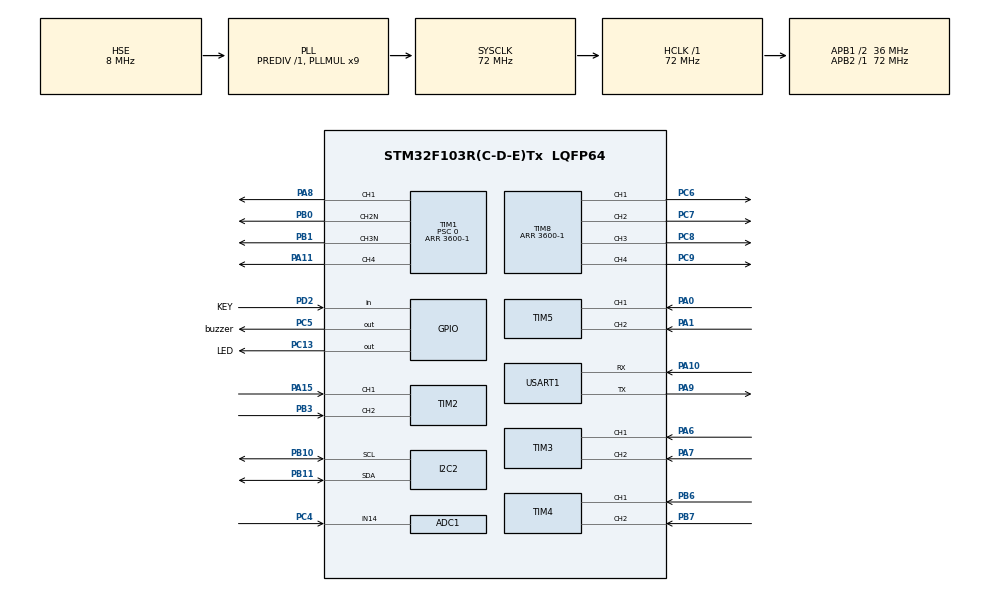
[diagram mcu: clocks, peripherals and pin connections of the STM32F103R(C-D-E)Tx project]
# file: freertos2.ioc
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ADC1.Channel-0\#ChannelRegularConversion=ADC_CHANNEL_14
ADC1.ContinuousConvMode=ENABLE
ADC1.NbrOfConversion=1
ADC1.NbrOfConversionFlag=1
ADC1.Rank-0\#ChannelRegularConversion=1
ADC1.SamplingTime-0\#ChannelRegularConversion=ADC_SAMPLETIME_239CYCLES_5
ADC1.master=1
FREERTOS.Tasks01=defaultTask,24,128,StartDefaultTask,Default,NULL,Dynamic,NULL,NULL
FREERTOS.configUSE_NEWLIB_REENTRANT=1
Mcu.Family=STM32F1
Mcu.Name=STM32F103R(C-D-E)Tx
Mcu.Package=LQFP64
NVIC.PriorityGroup=NVIC_PRIORITYGROUP_4
NVIC.TIM6_IRQn=true\:15\:0\:false\:false\:true\:false\:false\:true\:true
NVIC.TIM7_IRQn=true\:5\:0\:false\:false\:true\:true\:true\:true\:true
NVIC.TimeBase=TIM6_IRQn
NVIC.TimeBaseIP=TIM6
PA0-WKUP.Signal=S_TIM5_CH1
PA1.Signal=S_TIM5_CH2
PA10.Mode=Asynchronous
PA10.Signal=USART1_RX
PA11.Signal=S_TIM1_CH4
PA13.Mode=Serial_Wire
PA13.Signal=SYS_JTMS-SWDIO
PA14.Mode=Serial_Wire
PA14.Signal=SYS_JTCK-SWCLK
PA15.Signal=S_TIM2_CH1_ETR
PA6.Signal=S_TIM3_CH1
PA7.Signal=S_TIM3_CH2
PA8.Signal=S_TIM1_CH1
PA9.Mode=Asynchronous
PA9.Signal=USART1_TX
PB0.Mode=PWM Generation2 CH2N
PB0.Signal=TIM1_CH2N
PB1.Mode=PWM Generation3 CH3N
PB1.Signal=TIM1_CH3N
PB10.Mode=I2C
PB10.Signal=I2C2_SCL
PB11.Mode=I2C
PB11.Signal=I2C2_SDA
PB3.Signal=S_TIM2_CH2
PB6.Signal=S_TIM4_CH1
PB7.Signal=S_TIM4_CH2
PC13-TAMPER-RTC.GPIO_Label=LED
PC13-TAMPER-RTC.Signal=GPIO_Output
PC4.Signal=ADCx_IN14
PC5.GPIO_Label=buzzer
PC5.GPIO_Speed=GPIO_SPEED_FREQ_LOW
PC5.Signal=GPIO_Output
PC6.Signal=S_TIM8_CH1
PC7.Signal=S_TIM8_CH2
PC8.Signal=S_TIM8_CH3
PC9.Signal=S_TIM8_CH4
PD0-OSC_IN.Mode=HSE-External-Oscillator
PD0-OSC_IN.Signal=RCC_OSC_IN
PD1-OSC_OUT.Mode=HSE-External-Oscillator
PD1-OSC_OUT.Signal=RCC_OSC_OUT
PD2.GPIO_Label=KEY
PD2.GPIO_PuPd=GPIO_PULLUP
PD2.Signal=GPIO_Input
ProjectManager.HeapSize=0x200
ProjectManager.StackSize=0x400
ProjectManager.TargetToolchain=STM32CubeIDE
RCC.ADCPresc=RCC_ADCPCLK2_DIV6
RCC.AHBFreq_Value=72000000
RCC.APB1CLKDivider=RCC_HCLK_DIV2
RCC.APB1Freq_Value=36000000
RCC.APB1TimFreq_Value=72000000
RCC.APB2Freq_Value=72000000
RCC.APB2TimFreq_Value=72000000
RCC.HCLKFreq_Value=72000000
RCC.PLLMUL=RCC_PLL_MUL9
RCC.PLLSourceVirtual=RCC_PLLSOURCE_HSE
RCC.SYSCLKFreq_VALUE=72000000
RCC.SYSCLKSource=RCC_SYSCLKSOURCE_PLLCLK
RCC.USBFreq_Value=72000000
SH.ADCx_IN14.0=ADC1_IN14,IN14
SH.S_TIM1_CH1.0=TIM1_CH1,PWM Generation1 CH1
SH.S_TIM1_CH4.0=TIM1_CH4,PWM Generation4 CH4
SH.S_TIM2_CH1_ETR.0=TIM2_CH1,Encoder_Interface
SH.S_TIM2_CH2.0=TIM2_CH2,Encoder_Interface
SH.S_TIM3_CH1.0=TIM3_CH1,Encoder_Interface
SH.S_TIM3_CH2.0=TIM3_CH2,Encoder_Interface
SH.S_TIM4_CH1.0=TIM4_CH1,Encoder_Interface
SH.S_TIM4_CH2.0=TIM4_CH2,Encoder_Interface
SH.S_TIM5_CH1.0=TIM5_CH1,Encoder_Interface
SH.S_TIM5_CH2.0=TIM5_CH2,Encoder_Interface
SH.S_TIM8_CH1.0=TIM8_CH1,Output Compare1 CH1
SH.S_TIM8_CH2.0=TIM8_CH2,PWM Generation2 CH2
SH.S_TIM8_CH3.0=TIM8_CH3,PWM Generation3 CH3
SH.S_TIM8_CH4.0=TIM8_CH4,PWM Generation4 CH4
TIM1.AutoReloadPreload=TIM_AUTORELOAD_PRELOAD_ENABLE
TIM1.Channel-PWM\ Generation1\ CH1=TIM_CHANNEL_1
TIM1.Channel-PWM\ Generation2\ CH2N=TIM_CHANNEL_2
TIM1.Channel-PWM\ Generation3\ CH3N=TIM_CHANNEL_3
TIM1.Channel-PWM\ Generation4\ CH4=TIM_CHANNEL_4
TIM1.Period=3600-1
TIM1.Prescaler=0
TIM3.AutoReloadPreload=TIM_AUTORELOAD_PRELOAD_ENABLE
TIM3.EncoderMode=TIM_ENCODERMODE_TI12
TIM3.IC1Filter=0xf
TIM3.IC2Filter=0xf
TIM7.AutoReloadPreload=TIM_AUTORELOAD_PRELOAD_ENABLE
TIM7.Period=100-1
TIM7.Prescaler=7200-1
TIM8.Channel-Output\ Compare1\ CH1=TIM_CHANNEL_1
TIM8.Channel-PWM\ Generation2\ CH2=TIM_CHANNEL_2
TIM8.Channel-PWM\ Generation3\ CH3=TIM_CHANNEL_3
TIM8.Channel-PWM\ Generation4\ CH4=TIM_CHANNEL_4
TIM8.Period=3600-1
USART1.VirtualMode=VM_ASYNC
VP_FREERTOS_VS_CMSIS_V2.Mode=CMSIS_V2
VP_SYS_VS_tim6.Mode=TIM6
VP_TIM1_VS_ClockSourceINT.Mode=Internal
VP_TIM7_VS_ClockSourceINT.Mode=Enable_Timer
VP_TIM8_VS_ClockSourceINT.Mode=Internal
board=custom

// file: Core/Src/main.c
/* USER CODE BEGIN Header */
/**
  ******************************************************************************
  * @file           : main.c
  * @brief          : Main program body
  ******************************************************************************
  * @attention
  *
  * Copyright (c) 2025 STMicroelectronics.
  * All rights reserved.
  *
  * This software is licensed under terms that can be found in the LICENSE file
  * in the root directory of this software component.
  * If no LICENSE file comes with this software, it is provided AS-IS.
  *
  ******************************************************************************
  */
/* USER CODE END Header */
#include "main.h"
#include "cmsis_os.h"
#include "adc.h"
#include "i2c.h"
#include "tim.h"
#include "usart.h"
#include "gpio.h"

/* USER CODE BEGIN Includes */
#include "freertos_ITF.h"
/* USER CODE END Includes */

void SystemClock_Config(void);

void MX_FREERTOS_Init(void);

int main(void) {

    /* MCU Configuration--------------------------------------------------------*/

    /* Reset of all peripherals, Initializes the Flash interface and the Systick. */
    HAL_Init();

    /* Configure the system clock */
    SystemClock_Config();

    /* Initialize all configured peripherals */
    MX_GPIO_Init();
    MX_I2C2_Init();
    MX_TIM1_Init();
    MX_TIM8_Init();
    MX_TIM3_Init();
    MX_USART1_UART_Init();
    MX_TIM2_Init();
    MX_TIM4_Init();
    MX_TIM5_Init();
    MX_ADC1_Init();
    MX_TIM7_Init();
    /* USER CODE BEGIN 2 */
    Motor_Init();
    OLED_Init();
    OLED_Clear();
    /* USER CODE END 2 */

    /* Init scheduler */
    osKernelInitialize();

    /* Call init function for freertos objects (in cmsis_os2.c) */
    MX_FREERTOS_Init();

    /* Start scheduler */
    osKernelStart();

    /* We should never get here as control is now taken by the scheduler */

    /* Infinite loop */
    while (1) {

    }
}

void SystemClock_Config(void) {
    RCC_OscInitTypeDef RCC_OscInitStruct = {0};
    RCC_ClkInitTypeDef RCC_ClkInitStruct = {0};
    RCC_PeriphCLKInitTypeDef PeriphClkInit = {0};

    /** Initializes the RCC Oscillators according to the specified parameters
    * in the RCC_OscInitTypeDef structure.
    */
    RCC_OscInitStruct.OscillatorType = RCC_OSCILLATORTYPE_HSE;
    RCC_OscInitStruct.HSEState = RCC_HSE_ON;
    RCC_OscInitStruct.HSEPredivValue = RCC_HSE_PREDIV_DIV1;
    RCC_OscInitStruct.HSIState = RCC_HSI_ON;
    RCC_OscInitStruct.PLL.PLLState = RCC_PLL_ON;
    RCC_OscInitStruct.PLL.PLLSource = RCC_PLLSOURCE_HSE;
    RCC_OscInitStruct.PLL.PLLMUL = RCC_PLL_MUL9;
    if (HAL_RCC_OscConfig(&RCC_OscInitStruct) != HAL_OK) {
        Error_Handler();
    }

    /** Initializes the CPU, AHB and APB buses clocks
    */
    RCC_ClkInitStruct.ClockType = RCC_CLOCKTYPE_HCLK | RCC_CLOCKTYPE_SYSCLK
                                  | RCC_CLOCKTYPE_PCLK1 | RCC_CLOCKTYPE_PCLK2;
    RCC_ClkInitStruct.SYSCLKSource = RCC_SYSCLKSOURCE_PLLCLK;
    RCC_ClkInitStruct.AHBCLKDivider = RCC_SYSCLK_DIV1;
    RCC_ClkInitStruct.APB1CLKDivider = RCC_HCLK_DIV2;
    RCC_ClkInitStruct.APB2CLKDivider = RCC_HCLK_DIV1;

    if (HAL_RCC_ClockConfig(&RCC_ClkInitStruct, FLASH_LATENCY_2) != HAL_OK) {
        Error_Handler();
    }
    PeriphClkInit.PeriphClockSelection = RCC_PERIPHCLK_ADC;
    PeriphClkInit.AdcClockSelection = RCC_ADCPCLK2_DIV6;
    if (HAL_RCCEx_PeriphCLKConfig(&PeriphClkInit) != HAL_OK) {
        Error_Handler();
    }
}

void HAL_TIM_PeriodElapsedCallback(TIM_HandleTypeDef *htim) {
    if (htim->Instance == TIM6) {
        HAL_IncTick();
    }
}

void Error_Handler(void) {
    __disable_irq();
    while (1) {
    }
}

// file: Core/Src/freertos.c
/* USER CODE BEGIN Header */
/**
  ******************************************************************************
  * File Name          : freertos.c
  * Description        : Code for freertos applications
  ******************************************************************************
  * @attention
  *
  * Copyright (c) 2025 STMicroelectronics.
  * All rights reserved.
  *
  * This software is licensed under terms that can be found in the LICENSE file
  * in the root directory of this software component.
  * If no LICENSE file comes with this software, it is provided AS-IS.
  *
  ******************************************************************************
  */
/* USER CODE END Header */

#include "FreeRTOS.h"
#include "task.h"
#include "main.h"
#include "cmsis_os.h"

/* USER CODE BEGIN Includes */
#include "freertos_ITF.h"
/* USER CODE END Includes */

/* USER CODE BEGIN Variables */
StackType_t OledStackBuffer[128];
StaticTask_t OledTaskBuffer;
TaskHandle_t OledTaskHandle;
/* USER CODE END Variables */
/* Definitions for defaultTask */
osThreadId_t defaultTaskHandle;
const osThreadAttr_t defaultTask_attributes = {
        .name = "defaultTask",
        .stack_size = 128 * 4,
        .priority = (osPriority_t) osPriorityNormal,
};

/* USER CODE BEGIN FunctionPrototypes */
void Motor_Task(void *argument);
void OLED_Task(void *argument);
/* USER CODE END FunctionPrototypes */

void StartDefaultTask(void *argument);

void MX_FREERTOS_Init(void); /* (MISRA C 2004 rule 8.1) */

void MX_FREERTOS_Init(void) {
    /* USER CODE BEGIN Init */
    TaskHandle_t MotorTaskHandle;
    BaseType_t motor_ret;
    /* USER CODE END Init */

    /* Create the thread(s) */
    /* creation of defaultTask */
    defaultTaskHandle = osThreadNew(StartDefaultTask, NULL, &defaultTask_attributes);

    /* USER CODE BEGIN RTOS_THREADS */
    /* add threads, ... */
    motor_ret = xTaskCreate(Motor_Task, "MotorTask", 124, NULL, osPriorityNormal, &MotorTaskHandle);
    OledTaskHandle = xTaskCreateStatic(
            OLED_Task, "OLEDTask",
            124,
            NULL,
            osPriorityNormal,
            OledStackBuffer,
            &OledTaskBuffer
    );
    /* USER CODE END RTOS_THREADS */

}

void StartDefaultTask(void *argument) {
    /* USER CODE BEGIN StartDefaultTask */
    /* Infinite loop */
    for (;;) {
        rtBuzzer_ON_Time();
    }
    /* USER CODE END StartDefaultTask */
}

/* USER CODE BEGIN Application */
void Motor_Task(void *argument) {
    rtMotor_Test();
}
void OLED_Task(void *argument) {
    OLED_Test();
}
/* USER CODE END Application */
